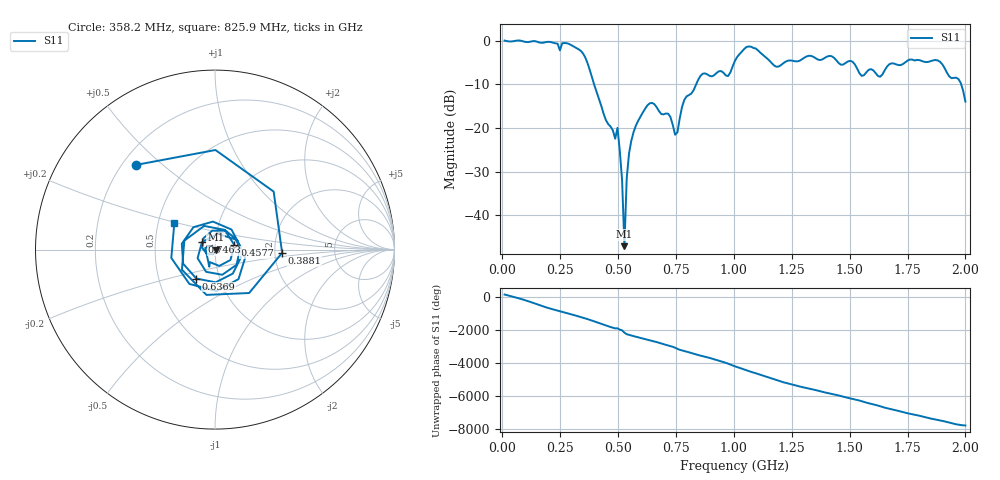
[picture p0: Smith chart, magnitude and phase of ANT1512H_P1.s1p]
!Created with skrf (http://scikit-rf.org).
# Hz S RI R 50.0
!freq ReS11 ImS11
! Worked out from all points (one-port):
!   201 points, 10 MHz to 2 GHz, reference 50 ohm
!   lowest |S11| = -47.1 dB at 527.4 MHz (marker M1), VSWR 1.01, Z = 50.4 - j0.122 ohm
!   |S11| at or under -10 dB: 396.7 MHz to 837.2 MHz (440.5 MHz wide, 71.4 % of centre); 1.982 GHz to end of sweep
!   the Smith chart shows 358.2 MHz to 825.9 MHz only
!   S11 on the Smith chart (normalised r, x): 358.2 MHz: 0.25, +0.41; 388.1 MHz: 2.19, -0.09; 457.8 MHz: 1.24, +0.06; 636.9 MHz: 0.77, -0.26; 746.3 MHz: 0.86, +0.07; 825.9 MHz: 0.61, +0.19
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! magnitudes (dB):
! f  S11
! 10 MHz  0.1
! 258.8 MHz  -0.6
! 358.2 MHz  -3.8
! 388.1 MHz  -8.5
! 457.8 MHz  -19.1
! 487.6 MHz  -22.5
! 497.6 MHz  -20.0
! 507.5 MHz  -25.2
! 517.5 MHz  -32.1
! 527.4 MHz  -47.1
! 537.4 MHz  -31.5
! 557.2 MHz  -22.9
! 636.9 MHz  -14.3
! 716.5 MHz  -16.7
! 746.3 MHz  -21.5
! 756.2 MHz  -21.0
! 786.1 MHz  -13.5
! 825.9 MHz  -11.4
! 1.005 GHz  -4.5
! 1.065 GHz  -1.3
! 1.184 GHz  -5.9
! 1.254 GHz  -4.6
! 1.502 GHz  -4.6
! 1.632 GHz  -8.2
! 1.751 GHz  -4.5
! 1.891 GHz  -4.8
! 1.97 GHz  -8.8
! 2 GHz  -13.9
